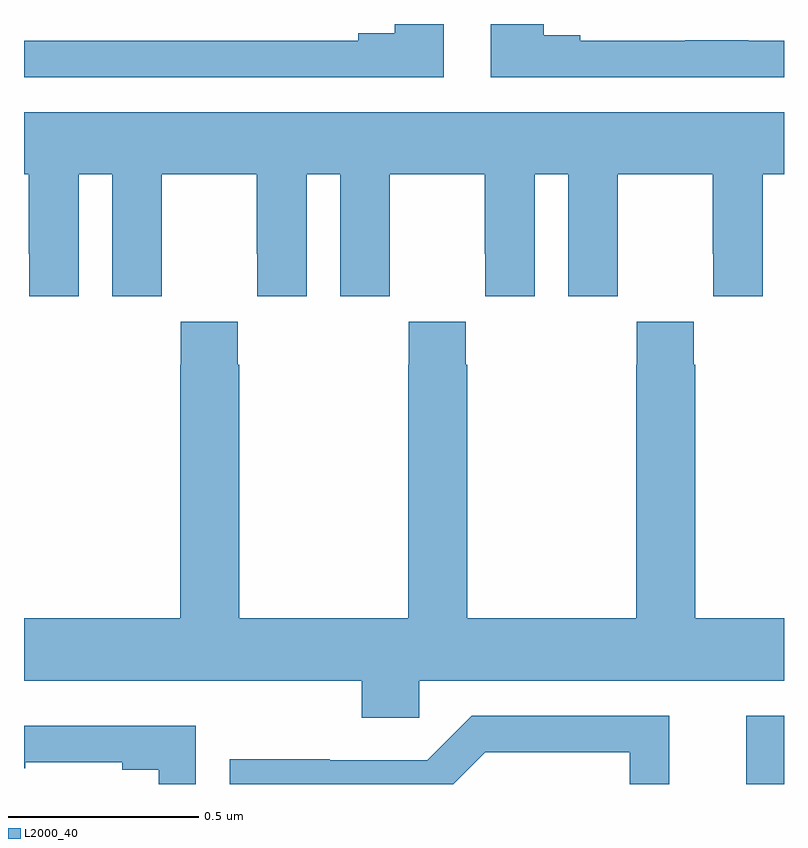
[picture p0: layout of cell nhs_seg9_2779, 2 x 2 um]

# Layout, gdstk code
import gdstk
lib = gdstk.Library(unit=1e-6, precision=1e-09)
def R(c, l, rs):  # rectangles x0, y0, x1, y1
    for r in rs: c.add(gdstk.rectangle(r[:2], r[2:], *l))
def P(c, l, *ps):  # polygons
    for p in ps: c.add(gdstk.Polygon(p, *l))
L2000_40 = (2000, 40)

nhs_seg9_2779 = lib.new_cell('nhs_seg9_2779')
R(nhs_seg9_2779, L2000_40, [(146.9,1177.5,147,1177.68)])
P(nhs_seg9_2779, L2000_40, [(147,1179.456),(146.906,1179.456),(146.906,1179.457),(146.74,1179.457),(146.74,1179.456),(146.464,1179.456),(146.464,1179.471),(146.368,1179.471),(146.368,1179.5),(146.228,1179.5),(146.228,1179.36),(147,1179.36)],
  [(146.104,1179.5),(145.976,1179.5),(145.976,1179.476),(145.88,1179.476),(145.88,1179.456),(145,1179.456),(145,1179.36),(146.104,1179.36)],
  [(145,1179.104),(145.013,1179.104),(145.013,1178.896),(145.014,1178.896),(145.014,1178.784),(145.144,1178.784),(145.144,1179.104),(145.232,1179.104),(145.232,1178.784),(145.362,1178.784),(145.362,1178.896),(145.363,1178.896),(145.363,1179.104),(145.613,1179.104),(145.613,1178.896),(145.614,1178.896),(145.614,1178.784),(145.744,1178.784),(145.744,1179.104),(145.832,1179.104),(145.832,1178.784),(145.962,1178.784),(145.962,1178.896),(145.963,1178.896),(145.963,1179.104),(146.213,1179.104),(146.213,1178.896),(146.214,1178.896),(146.214,1178.784),(146.344,1178.784),(146.344,1179.104),(146.432,1179.104),(146.432,1178.784),(146.562,1178.784),(146.562,1178.896),(146.563,1178.896),(146.563,1179.104),(146.813,1179.104),(146.813,1178.896),(146.814,1178.896),(146.814,1178.784),(146.944,1178.784),(146.944,1179.104),(147,1179.104),(147,1179.268),(145,1179.268)],
  [(146.04,1177.772),(147,1177.772),(147,1177.936),(146.766,1177.936),(146.766,1178.603),(146.763,1178.603),(146.763,1178.716),(146.613,1178.716),(146.613,1178.603),(146.611,1178.603),(146.611,1177.936),(146.166,1177.936),(146.166,1178.603),(146.163,1178.603),(146.163,1178.716),(146.013,1178.716),(146.013,1178.603),(146.011,1178.603),(146.011,1177.936),(145.566,1177.936),(145.566,1178.603),(145.563,1178.603),(145.563,1178.716),(145.413,1178.716),(145.413,1178.603),(145.411,1178.603),(145.411,1177.936),(145,1177.936),(145,1177.772),(145.889,1177.772),(145.889,1177.674),(146.04,1177.674)],
  [(146.214,1177.584),(146.594,1177.584),(146.594,1177.5),(146.698,1177.5),(146.698,1177.68),(146.178,1177.68),(146.061,1177.563),(145.805,1177.563),(145.805,1177.565),(145.542,1177.565),(145.542,1177.5),(146.13,1177.5)],
  [(145.452,1177.653),(145,1177.653),(145,1177.542),(145.003,1177.542),(145.003,1177.557),(145.259,1177.557),(145.259,1177.537),(145.355,1177.537),(145.355,1177.5),(145.452,1177.5)])

lib.write_gds('nhs_seg9_2779.gds')
